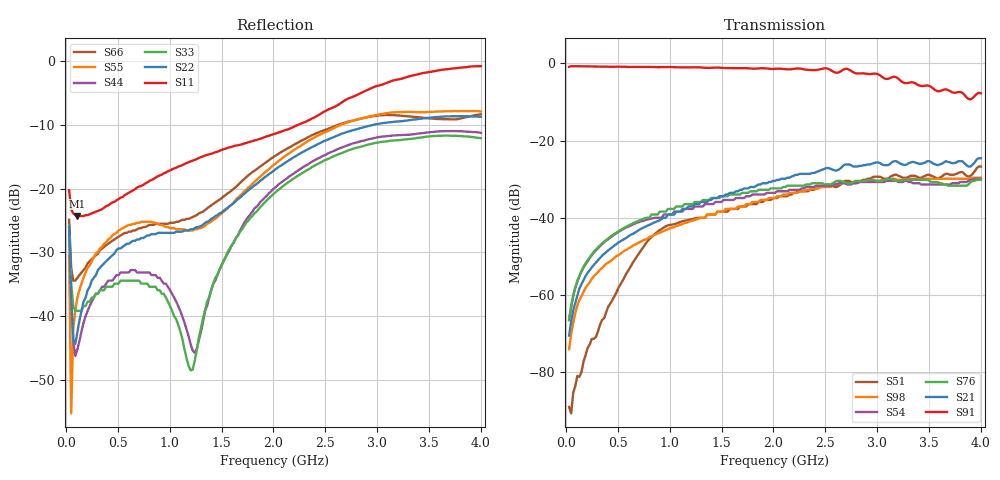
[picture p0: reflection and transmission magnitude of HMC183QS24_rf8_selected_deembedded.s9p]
!Hittite Microwave Corporation
!12 Elizabeth Drive
!Chelmsford, MA 01824
!Tel: 978-250-3343
!Fax: 978-250-3373
!Device: HMC183QS24, DC-2 GHz GaAS MMIC SP8T Non-Reflective Switch in 24-lead QSOP package
!Misc: Port 1 = RFCom, Port 2 = RF1, Port 3 = RF2, Port 4 = RF3, Port 5 = RF4, Port 6 = RF5, Port 7 = RF6, Port 8 = RF7, Port 9 = RF8, RF8 selected, Vctl=0/-5V
# MHZ S MA R 50
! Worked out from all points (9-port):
!   201 points, 30 MHz to 4 GHz, reference 50 ohm
!   strongest paths, dB at 30 MHz, 1.022 GHz, 2.015 GHz, 3.007 GHz, 4 GHz:
!     S91: -0.9, -1.0, -1.4, -2.8, -7.7
!     S21: -70.5, -39.2, -30.5, -25.7, -24.6
!     S76: -66.6, -37.7, -32.4, -30.5, -30.2
!     S54: -66.4, -39.2, -33.6, -30.8, -29.9
!     S98: -74.0, -42.6, -34.9, -30.5, -29.6
!     S51: -89.0, -41.8, -34.9, -29.4, -26.7
!   lowest |S11| = -24.3 dB at 109.4 MHz (marker M1), VSWR 1.13, Z = 55.7 - j2.99 ohm
!   |S11| at or under -10 dB: start of sweep to 2.234 GHz
